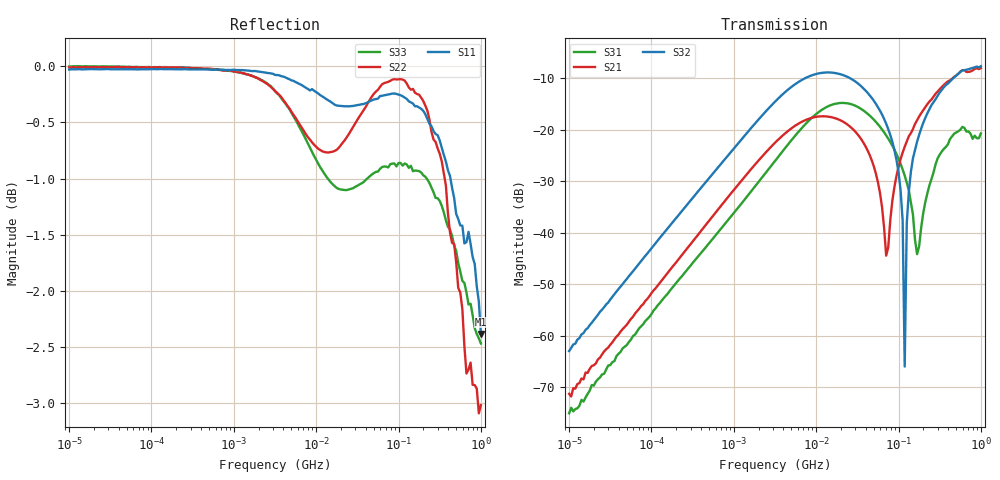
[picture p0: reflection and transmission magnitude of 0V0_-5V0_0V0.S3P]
!Keysight Technologies,E5080A,MY55100144,A.11.70.03
!Date: Monday, November 13, 2017 17:22:46
!Correction: S11(Full 3 Port(1,2,3))
!S12(Full 3 Port(1,2,3))
!S13(Full 3 Port(1,2,3))
!S21(Full 3 Port(1,2,3))
!S22(Full 3 Port(1,2,3))
!S23(Full 3 Port(1,2,3))
!S31(Full 3 Port(1,2,3))
!S32(Full 3 Port(1,2,3))
!S33(Full 3 Port(1,2,3))
!S3P File: Measurements: <S11,S12,S13>,
!<S21,S22,S23>,
!<S31,S32,S33>:Log Frequency Sweep
# Hz S  RI  R 50
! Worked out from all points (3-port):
!   201 points, 10 kHz to 1 GHz, reference 50 ohm
!   strongest paths, dB at 10 kHz, 177.8 kHz, 3.162 MHz, 56.23 MHz, 1 GHz:
!     S32: -63.0, -38.1, -14.6, -15.6, -7.7
!     S21: -71.3, -46.7, -22.5, -30.2, -8.0
!     S31: -75.1, -50.8, -26.1, -19.0, -20.7
!   lowest |S11| = -2.4 dB at 1 GHz (marker M1), VSWR 7.34, Z = 366 + j14 ohm
!   |S11| at or under -10 dB: nowhere
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10000  0.9968 -0.00155  5.33e-06 0.000263  -1.68e-05 0.000177
       -1.11e-05 0.000271  0.9988 -0.00354  -8.9e-08 0.00069
       2.08e-07 0.000176  2.12e-05 0.000706  0.9998 -0.00239
3162278  0.894 -0.4283  0.0402 0.0631  0.0119 0.0481
         0.0401 0.063  0.6652 -0.7131  0.0994 0.1585
         0.0119 0.0482  0.0996 0.1586  0.9349 -0.2761
1.412538e7  -0.0179 -0.9655  0.1334 -0.00978  0.1575 0.0627
            0.1335 -0.00979  -0.5331 -0.7443  0.36 -0.0122
            0.1577 0.0626  0.3599 -0.0122  0.4525 -0.7671
6.309573e7  -0.9372 -0.251  0.00985 -0.0146  0.0447 -0.0901
            0.00976 -0.0146  -0.9817 0.00826  0.0436 -0.1334
            0.0447 -0.0901  0.0435 -0.1334  -0.7202 -0.543
1.059254e8  -0.9694 0.052  0.0108 0.0506  0.00385 -0.0465
            0.0108 0.0506  -0.9362 0.3123  -0.00133 -0.0258
            0.00387 -0.0465  -0.00133 -0.0258  -0.8867 -0.1843
1.188502e8  -0.9609 0.1213  0.0184 0.0657  0.000987 -0.0358
            0.0185 0.0657  -0.9068 0.3859  0.000415 -0.000301
            0.000985 -0.0358  0.000407 -0.000291  -0.8993 -0.103
1.258925e8  -0.9543 0.1569  0.0234 0.0733  0.000149 -0.0306
            0.0235 0.0733  -0.8867 0.4232  0.00315 0.012
            0.000118 -0.0306  0.00314 0.012  -0.9022 -0.0605
1.678804e8  -0.8998 0.3343  0.0596 0.108  0.00453 -0.00424
            0.0597 0.1079  -0.7624 0.603  0.0339 0.0683
            0.00454 -0.0042  0.0339 0.0684  -0.8868 0.1444
5.623413e8  0.0907 0.8447  0.3242 -0.17  0.0656 -0.075
            0.3244 -0.1703  0.5627 0.5588  0.3356 -0.1417
            0.0658 -0.075  0.3354 -0.1416  -0.0621 0.8079
1e9  0.7602 0.00808  -0.0932 -0.3857  -0.0563 -0.0721
     -0.094 -0.3859  0.5903 -0.3885  -0.0448 -0.4119
     -0.056 -0.0728  -0.0444 -0.4119  0.6861 0.3097
